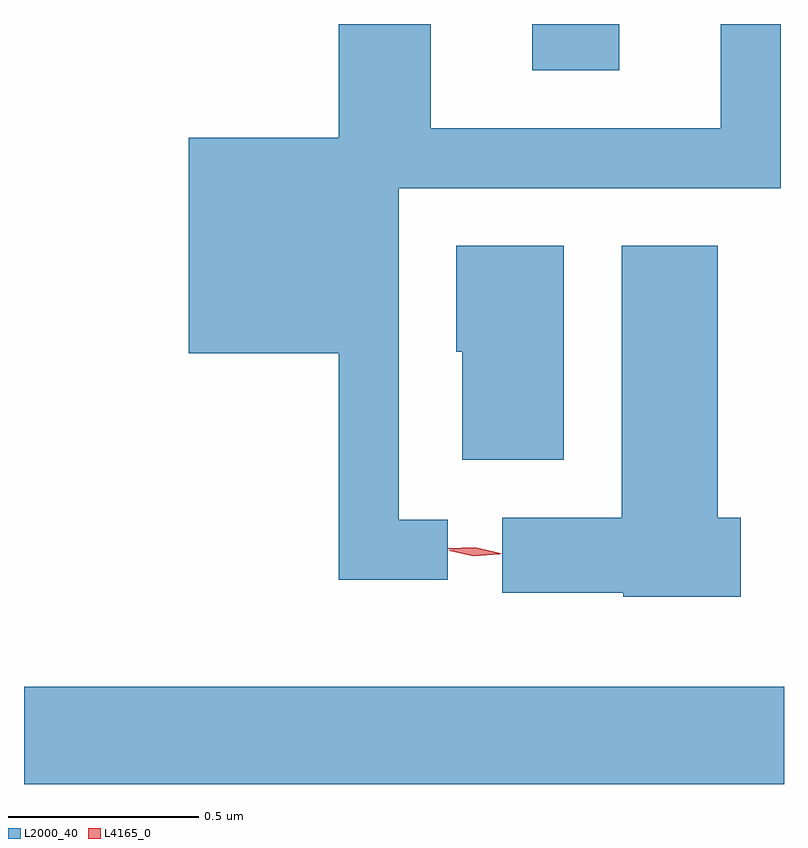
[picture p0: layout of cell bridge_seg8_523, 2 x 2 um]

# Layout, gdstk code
import gdstk
lib = gdstk.Library(unit=1e-6, precision=1e-09)
def R(c, l, rs):  # rectangles x0, y0, x1, y1
    for r in rs: c.add(gdstk.rectangle(r[:2], r[2:], *l))
def P(c, l, *ps):  # polygons
    for p in ps: c.add(gdstk.Polygon(p, *l))
L2000_40 = (2000, 40)
L4165_0 = (4165, 0)

bridge_seg8_523 = lib.new_cell('bridge_seg8_523')
R(bridge_seg8_523, L2000_40, [(265.523,1843.088,267.523,1843.344), (266.861,1844.966,267.089,1845.088)])
P(bridge_seg8_523, L2000_40, [(266.638,1843.784),(266.509,1843.784),(266.509,1844.656),(267.514,1844.656),(267.514,1845.088),(267.356,1845.088),(267.356,1844.814),(266.594,1844.814),(266.594,1845.088),(266.351,1845.088),(266.351,1844.789),(265.956,1844.789),(265.956,1844.221),(266.351,1844.221),(266.351,1843.626),(266.638,1843.626)],
  [(267.409,1843.789),(267.349,1843.789),(267.349,1844.504),(267.096,1844.504),(267.096,1843.789),(266.781,1843.789),(266.781,1843.591),(267.1,1843.591),(267.1,1843.581),(267.409,1843.581)],
  [(266.944,1844.504),(266.661,1844.504),(266.661,1844.225),(266.676,1844.225),(266.676,1843.941),(266.944,1843.941)])
P(bridge_seg8_523, L4165_0, [(266.707,1843.691),(266.64,1843.707),(266.639,1843.707),(266.64,1843.708),(266.709,1843.711),(266.777,1843.695),(266.778,1843.695),(266.777,1843.694)],
  [(266.707,1843.687),(266.642,1843.702),(266.642,1843.702),(266.642,1843.703),(266.709,1843.707),(266.774,1843.693),(266.775,1843.692),(266.774,1843.692)])

lib.write_gds('bridge_seg8_523.gds')
